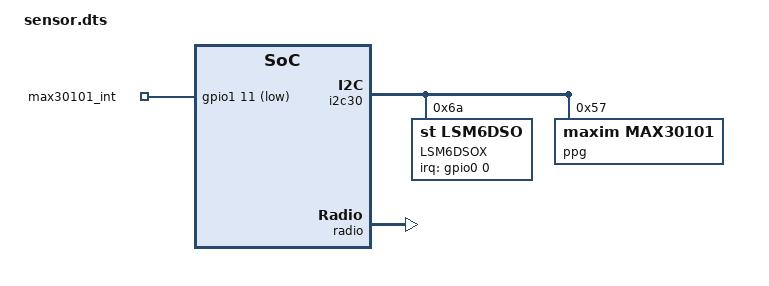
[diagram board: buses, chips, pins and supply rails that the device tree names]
#include <zephyr/dt-bindings/sensor/lsm6dso.h>

/ {
    aliases {
        my-int = &max30101_int;
    };
    ppg_int {
        compatible = "gpio-keys";
        max30101_int: gang {
            gpios = <&gpio1 11 (GPIO_PULL_UP | GPIO_ACTIVE_LOW)>;
        };
    };
};

&gpiote30 {
    status = "okay";
};

&gpiote20 {
    status = "okay";
};

&gpio1 {
    status = "okay";
};

&i2c30 {
    status = "okay";

    pinctrl-0 = <&i2c1_default>;
    pinctrl-1 = <&i2c1_sleep>;
    pinctrl-names = "default", "sleep";

    // TODO: need to re-enable this
    accelerometer: lsm6dso@6a {
        status = "okay";
        compatible = "st,lsm6dso";
        reg = <0x6a>;                   // 0x6a if SDO=0, use 0x6b if SDO=1
        label = "LSM6DSOX";
        irq-gpios = <&gpio0 0 GPIO_ACTIVE_HIGH>;
        int-pin = <1>;          // 1 = INT1, 2 = INT2
        accel-pm = <LSM6DSO_DT_XL_ULP_MODE>;
        accel-range = <LSM6DSO_DT_FS_2G>;
        accel-odr = <LSM6DSO_DT_ODR_12Hz5>;
        gyro-pm = <LSM6DSO_DT_GY_NORMAL_MODE>;
    };

    ppg: max30101@57 {
        status = "okay";
        compatible = "maxim,max30101";
        reg = <0x57>; // the datasheet says 0xae, but devboard said 0x57, may run into issues laters
    };
};

&clock {
    status = "okay";
};

&radio {
    status = "okay";
};
